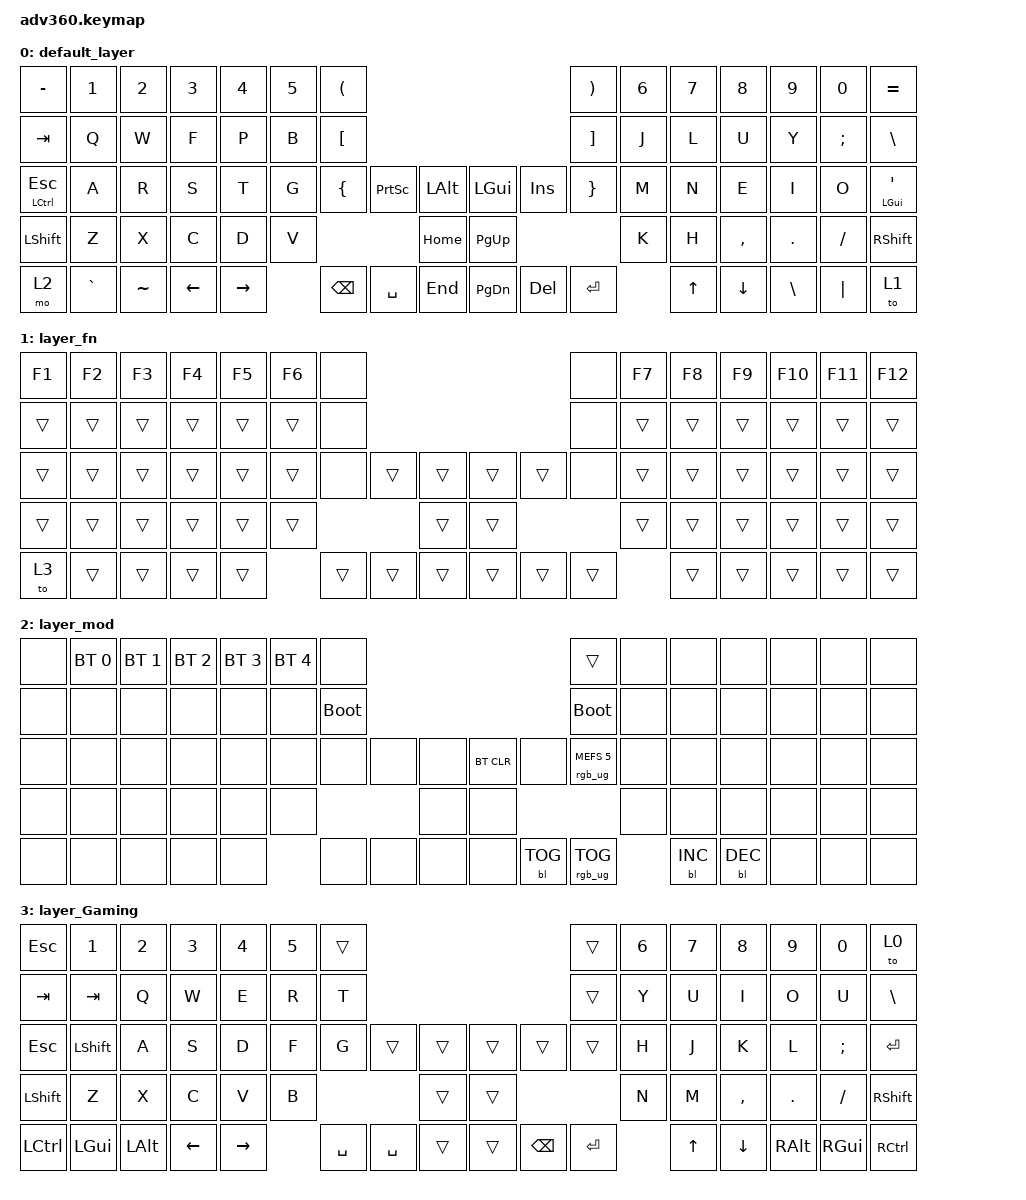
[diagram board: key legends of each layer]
/*
 * Copyright (c) 2020 The ZMK Contributors
 *
 * SPDX-License-Identifier: MIT
 */
/* THIS FILE WAS GENERATED!
 *
 * This file was generated automatically. You may or may not want to
 * edit it directly.
 */

#include <behaviors.dtsi>
#include <dt-bindings/zmk/backlight.h>
#include <dt-bindings/zmk/bt.h>
#include <dt-bindings/zmk/keys.h>
#include <dt-bindings/zmk/rgb.h>

/ {
    behaviors {
        #include "macros.dtsi"
    #include "version.dtsi"

        hm: homerow_mods {
            compatible = "zmk,behavior-hold-tap";
            label = "HOMEROW_MODS";
            #binding-cells = <2>;
            tapping-term-ms = <200>;
            quick_tap_ms = <175>;
            flavor = "tap-preferred";
            bindings = <&kp>, <&kp>;
        };
    };

    keymap {
        compatible = "zmk,keymap";

        default_layer {
            bindings = <
&kp MINUS             &kp N1     &kp N2     &kp N3    &kp N4     &kp N5  &kp LEFT_PARENTHESIS                                                        &kp RIGHT_PARENTHESIS  &kp N6  &kp N7  &kp N8     &kp N9         &kp N0    &kp EQUAL
&kp TAB               &kp Q      &kp W      &kp F     &kp P      &kp B   &kp LEFT_BRACKET                                                            &kp RIGHT_BRACKET      &kp J   &kp L   &kp U      &kp Y          &kp SEMI  &kp BSLH
&mt LEFT_CONTROL ESC  &kp A      &kp R      &kp S     &kp T      &kp G   &kp LEFT_BRACE        &kp PRINTSCREEN  &kp LALT      &kp LGUI   &kp INSERT  &kp RIGHT_BRACE        &kp M   &kp N   &kp E      &kp I          &kp O     &mt LGUI APOS
&kp LSHFT             &kp Z      &kp X      &kp C     &kp D      &kp V                                          &kp HOME      &kp PG_UP                                     &kp K   &kp H   &kp COMMA  &kp DOT        &kp FSLH  &kp RSHFT
&mo 2                 &kp GRAVE  &kp TILDE  &kp LEFT  &kp RIGHT          &kp BACKSPACE         &kp SPACE        &kp END       &kp PG_DN  &kp DEL     &kp ENTER                      &kp UP  &kp DOWN   &kp BACKSLASH  &kp PIPE  &to 1
            >;
        };

        layer_fn {
            bindings = <
&kp F1  &kp F2  &kp F3  &kp F4  &kp F5  &kp F6  &none                                       &none   &kp F7  &kp F8  &kp F9  &kp F10  &kp F11  &kp F12
&trans  &trans  &trans  &trans  &trans  &trans  &none                                       &none   &trans  &trans  &trans  &trans   &trans   &trans
&trans  &trans  &trans  &trans  &trans  &trans  &none   &trans  &trans      &trans  &trans  &none   &trans  &trans  &trans  &trans   &trans   &trans
&trans  &trans  &trans  &trans  &trans  &trans                  &trans      &trans                  &trans  &trans  &trans  &trans   &trans   &trans
&to 3   &trans  &trans  &trans  &trans          &trans  &trans  &trans      &trans  &trans  &trans          &trans  &trans  &trans   &trans   &trans
            >;
        };

        layer_mod {
            bindings = <
&none  &bt BT_SEL 0  &bt BT_SEL 1  &bt BT_SEL 2  &bt BT_SEL 3  &bt BT_SEL 4  &none                                                  &trans                  &none  &none       &none       &none  &none  &none
&none  &none         &none         &none         &none         &none         &bootloader                                            &bootloader             &none  &none       &none       &none  &none  &none
&none  &none         &none         &none         &none         &none         &none        &none  &none      &bt BT_CLR  &none       &rgb_ug RGB_MEFS_CMD 5  &none  &none       &none       &none  &none  &none
&none  &none         &none         &none         &none         &none                             &none      &none                                           &none  &none       &none       &none  &none  &none
&none  &none         &none         &none         &none                       &none        &none  &none      &none       &bl BL_TOG  &rgb_ug RGB_TOG                &bl BL_INC  &bl BL_DEC  &none  &none  &none
            >;
        };

        layer_Gaming {
            bindings = <
&kp ESCAPE        &kp NUMBER_1    &kp NUMBER_2  &kp NUMBER_3    &kp NUMBER_4     &kp NUMBER_5  &trans                                                   &trans     &kp NUMBER_6  &kp NUMBER_7  &kp NUMBER_8    &kp NUMBER_9   &kp NUMBER_0   &to 0
&kp TAB           &kp TAB         &kp Q         &kp W           &kp E            &kp R         &kp T                                                    &trans     &kp Y         &kp U         &kp I           &kp O          &kp U          &kp BACKSLASH
&kp ESCAPE        &kp LEFT_SHIFT  &kp A         &kp S           &kp D            &kp F         &kp G      &trans     &trans      &trans  &trans         &trans     &kp H         &kp J         &kp K           &kp L          &kp SEMICOLON  &kp ENTER
&kp LEFT_SHIFT    &kp Z           &kp X         &kp C           &kp V            &kp B                               &trans      &trans                            &kp N         &kp M         &kp COMMA       &kp PERIOD     &kp SLASH      &kp RIGHT_SHIFT
&kp LEFT_CONTROL  &kp LEFT_GUI    &kp LEFT_ALT  &kp LEFT_ARROW  &kp RIGHT_ARROW                &kp SPACE  &kp SPACE  &trans      &trans  &kp BACKSPACE  &kp ENTER                &kp UP_ARROW  &kp DOWN_ARROW  &kp RIGHT_ALT  &kp RIGHT_GUI  &kp RIGHT_CONTROL
            >;
        };
    };
};
